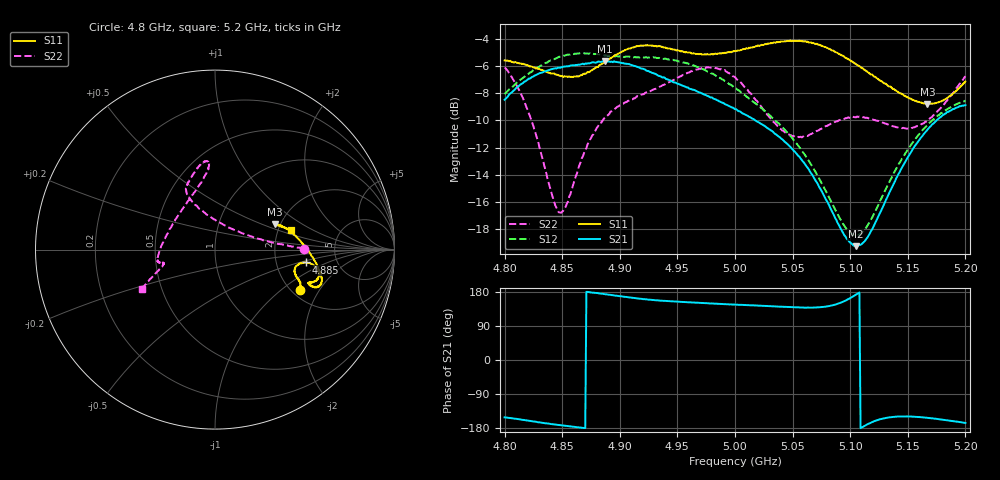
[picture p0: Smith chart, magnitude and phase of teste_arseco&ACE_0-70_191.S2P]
! Network Analyzer HP8722D
! Hewlett-Packard
! Data name: Linha & Wilkinson
! Saver's name: Rodrigo Anjos
! Comments: Teste da utilização de aquisição
! continua pelo VNA HP8722D
! Time and date: 8/5/2025 14:21
!  Frequency  S11  S21  S12  S22
# HZ  S  MA R 50
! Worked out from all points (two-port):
!   401 points, 4.8 GHz to 5.2 GHz, reference 50 ohm
!   highest |S21| = -5.65 dB at 4.887 GHz (marker M1); lowest = -19.3 dB at 5.105 GHz (marker M2)
!   |S21| within 3 dB of the highest: start of sweep to 4.988 GHz
!   lowest |S11| = -8.8 dB at 5.167 GHz (marker M3), VSWR 2.14, Z = 93.8 + j30.7 ohm
!   |S11| at or under -10 dB: nowhere
!   |S22| runs from -16.8 to -6.1 dB; largest |S21 - S12| = 1.1
!   S11 on the Smith chart (normalised r, x): 4.8 GHz: 2.23, -1.38; 4.885 GHz: 2.97, -0.58; 5.2 GHz: 2.36, +0.65
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4.8e9  0.5262 -25.2  0.3768 -151.3  0.3952 8.0  0.4952 0.7
4.82e9  0.5052 -20.6  0.447 -159.7  0.4684 5.1  0.3455 5.8
4.842e9  0.4713 -17.5  0.49 -169.5  0.5298 1.7  0.1638 38.5
4.847e9  0.4639 -16.3  0.495 -171.5  0.5418 0.7  0.1452 56.8
4.853e9  0.4588 -14.9  0.4997 -173.8  0.5492 -0.3  0.1522 79.9
4.867e9  0.464 -10.9  0.5103 -178.9  0.5577 -2.3  0.2295 108.6
4.885e9  0.5118 -8.0  0.5218 174.8  0.5522 -3.3  0.3157 116.2
4.887e9  0.5193 -8.1  0.5221 173.8  0.5493 -3.3  0.3241 116.2
4.913e9  0.5895 -11.9  0.5019 163.4  0.5416 -2.6  0.3813 114.4
4.934e9  0.5938 -16.5  0.4612 156.9  0.5375 -3.5  0.4193 109.1
4.973e9  0.5535 -19.6  0.3943 150.1  0.4865 -6.8  0.495 96.8
5e9  0.569 -20.5  0.3479 146.1  0.4183 -7.0  0.456 95.0
5.041e9  0.6178 -18.7  0.2696 140.6  0.299 0.7  0.2902 128.3
5.067e9  0.6091 -14.1  0.1997 138.2  0.2148 8.6  0.2832 165.1
5.094e9  0.5462 -4.4  0.1219 154.1  0.1314 33.8  0.3197 -172.9
5.105e9  0.5091 0.7  0.109 172.6  0.1196 55.0  0.3246 -169.4
5.115e9  0.4775 5.9  0.1174 -169.6  0.1298 74.3  0.3233 -167.4
5.134e9  0.4217 15.3  0.1715 -151.3  0.1879 94.4  0.3038 -166.3
5.151e9  0.3819 21.1  0.2349 -149.1  0.2512 99.3  0.2947 -164.9
5.167e9  0.364 23.0  0.2916 -152.6  0.3041 100.1  0.3156 -161.4
5.183e9  0.3793 20.5  0.3358 -158.7  0.3454 100.0  0.3698 -157.2
5.2e9  0.4401 14.6  0.3598 -166.0  0.3743 100.6  0.46 -151.8
